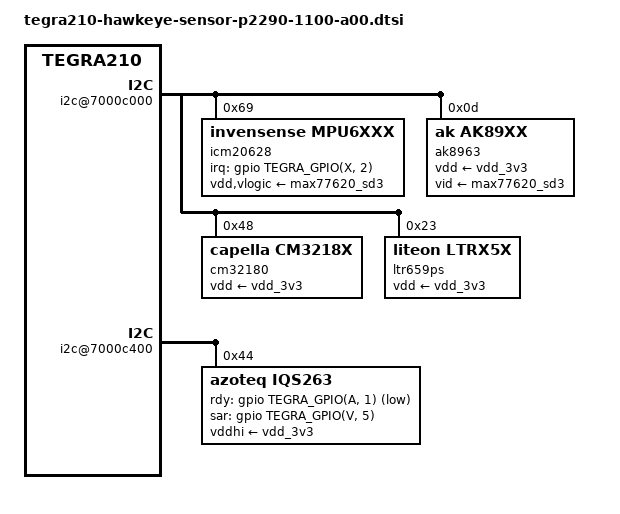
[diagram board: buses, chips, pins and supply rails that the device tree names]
/*
 * Copyright (c) 2014-2015, NVIDIA CORPORATION.  All rights reserved.
 *
 * This program is free software; you can redistribute it and/or modify
 * it under the terms of the GNU General Public License as published by
 * the Free Software Foundation; either version 2 of the License, or
 * (at your option) any later version.
 *
 * This program is distributed in the hope that it will be useful, but WITHOUT
 * ANY WARRANTY; without even the implied warranty of MERCHANTABILITY or
 * FITNESS FOR A PARTICULAR PURPOSE.  See the GNU General Public License for
 * more details.
 *
 * You should have received a copy of the GNU General Public License along
 * with this program; if not, write to the Free Software Foundation, Inc.,
 * 51 Franklin Street, Fifth Floor, Boston, MA  02110-1301, USA.
 */

#include <dt-bindings/gpio/tegra-gpio.h>
/ {
	i2c@7000c000 {
		icm20628@69 {
			compatible = "invensense,mpu6xxx";
			reg = <0x69>;
			vdd-supply = <&max77620_sd3>;		/* E2290 Main Board	*/
			vlogic-supply = <&max77620_sd3>;	/* E2290 Main Board	*/
			interrupt-parent = <&gpio>;
			interrupts = <TEGRA_GPIO(X, 2) 0x01>;
			accelerometer_matrix = [00 ff 00 01 00 00 00 00 01];
			gyroscope_matrix = [00 ff 00 01 00 00 00 00 01];
		};

		ak8963@0d {
			compatible = "ak,ak89xx";
			reg = <0x0d>;
			vdd-supply = <&vdd_3v3>;		/* E2290 Main Board	*/
			vid-supply = <&max77620_sd3>;		/* E2290 Main Board	*/
			magnetic_field_matrix = [00 ff 00 01 00 00 00 00 01];
		};

		cm32180@48 {
			compatible = "capella,cm3218x";
			reg = <0x48>;
			vdd-supply = <&vdd_3v3>;		/* P2297 Flex Cable	*/
			light_uncalibrated_lo = <1>;
			light_calibrated_lo = <150>;
			light_uncalibrated_hi = <34500>;
			light_calibrated_hi = <1800000>;
		};

		ltr659ps@23 {
			compatible = "liteon,ltrX5X";
			reg = <0x23>;
			vdd-supply = <&vdd_3v3>;		/* P2297 Flex Cable	*/
		};
	};

	i2c@7000c400 {
		iqs263@44 {
			compatible = "azoteq,iqs263";
			reg = <0x44>;
			vddhi-supply = <&vdd_3v3>;		/* P2293 Flex Cable	*/
			gpio_rdy = <&gpio TEGRA_GPIO(A, 1) GPIO_ACTIVE_LOW>;
			gpio_sar = <&gpio TEGRA_GPIO(V, 5) GPIO_ACTIVE_HIGH>;
			SAR_proximity_no_suspend = <1>;
			touch_proximity_no_suspend = <1>;
			os_options = <0>;
			263init_0 = [05 09 40 03 00 01 03 FF FF FF FF FF];
			263init_1 = [01 0D 09 FF];
			263init_2 = [01 01 00 FF];
			263init_3 = [05 07 1B 08 08 00 11 FF FF FF FF FF];
			263init_4 = [08 0A 08 10 10 02 04 08 14 3F FF FF FF FF FF FF FF FF];
			263init_5 = [03 0B 00 64 80 FF FF FF];
			263en_prox_0 = [01 09 10 18];
			263en_prox_1 = [FF 00];
			263en_prox_2 = [01 09 08 18];
			263en_touch_0 = [01 09 10 18];
			263en_touch_1 = [FF 00];
			263en_touch_2 = [01 09 08 18];
		};
	};
};
